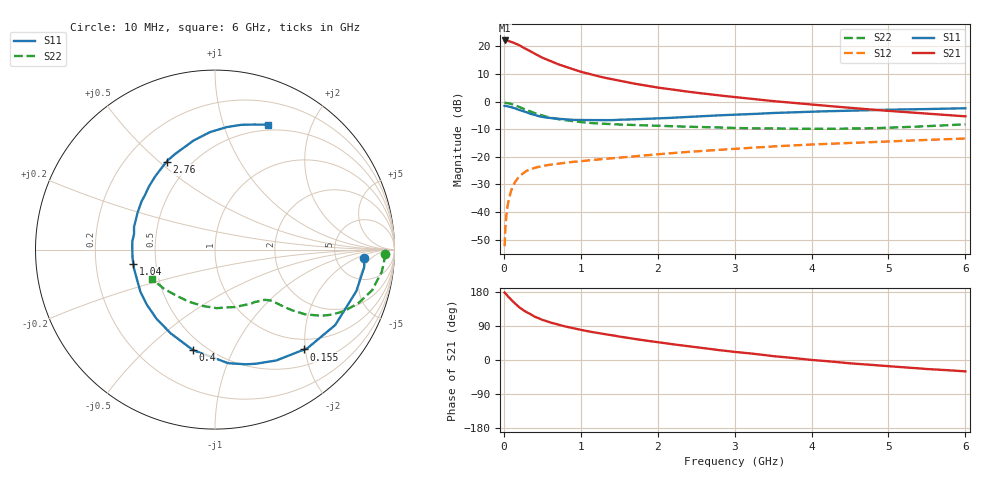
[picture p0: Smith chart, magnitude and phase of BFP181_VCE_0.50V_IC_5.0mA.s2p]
! Infineon Technologies  Discrete & RF Semiconductors
! BFP181
! VCE = 0.50V,  IC =  5.0 mA
! Common Emitter S-Parameters:  Jan 2016
# GHz  S  MA  R  50
!  f  S11  S21  S12  S22
! GHz  MAG  ANG  MAG  ANG  MAG  ANG  MAG  ANG
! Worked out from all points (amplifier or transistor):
!   210 points, 10 MHz to 6 GHz, reference 50 ohm
!   highest |S21| = 22.1 dB at 10 MHz (marker M1)
!   |S21| within 3 dB of that: start of sweep to 283 MHz
!   unconditionally stable (mu >= 1): 873.8 MHz to end of sweep
!   at 185 MHz: K = 0.28, MSG = 24.1 dB, |S12| = -27.7 dB
!   at 1.52 GHz: K = 1.41, MAG = 10.1 dB, |S12| = -20.3 dB
!   at 6 GHz: K = 1.52, MAG = -0.2 dB, |S12| = -13.4 dB
!   S11 on the Smith chart (normalised r, x): 10 MHz: 10, -3; 155 MHz: 0.79, -1.98; 400 MHz: 0.43, -0.71; 1.04 GHz: 0.37, -0.08; 2.76 GHz: 0.37, +0.53; 6 GHz: 0.44, +1.41
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0.01  0.8315 -3.3  12.76 177.9  0.0024 85.3  0.9498 -1.4
0.025  0.8327 -8.3  12.7 174.7  0.0064 81.9  0.9448 -3.7
0.05  0.8207 -16.4  12.62 168.7  0.0132 82.2  0.9378 -7.5
0.1  0.7908 -32.1  11.99 158.0  0.0254 71.9  0.9044 -14.5
0.155  0.7463 -48.2  11.17 147.3  0.0363 63.2  0.8476 -20.9
0.2  0.7061 -61.0  10.47 139.2  0.0439 58.4  0.7989 -25.3
0.24  0.6751 -70.4  9.712 133.2  0.0489 54.0  0.7546 -28.4
0.3  0.6371 -83.4  8.786 125.7  0.0559 49.3  0.6981 -31.9
0.4  0.5734 -102.3  7.372 114.4  0.0628 43.1  0.6174 -35.7
0.5  0.5275 -118.0  6.226 105.9  0.0678 39.0  0.5557 -37.9
0.6  0.5047 -130.2  5.442 99.2  0.0716 36.7  0.5116 -39.3
0.8  0.4772 -150.7  4.263 88.4  0.0778 34.0  0.4584 -40.9
1.02  0.4626 -168.5  3.403 78.8  0.0835 32.9  0.4214 -42.5
1.04  0.462 -169.9  3.347 78.0  0.0841 32.8  0.419 -42.7
1.3  0.4631 174.4  2.715 68.6  0.0907 32.0  0.3949 -45.2
1.5  0.4683 164.5  2.383 61.9  0.0964 32.1  0.3832 -47.4
2.02  0.4944 142.2  1.775 46.5  0.1113 31.1  0.3632 -55.3
2.76  0.5586 118.9  1.307 27.1  0.1323 28.2  0.34 -69.9
3.1  0.5837 110.2  1.167 19.5  0.1418 26.2  0.3293 -77.8
4.1  0.6605 90.8  0.859 -1.4  0.1688 19.6  0.3204 -105.0
5.1  0.7139 77.0  0.662 -17.8  0.1916 13.0  0.3389 -133.0
6  0.7551 67.2  0.539 -30.0  0.2138 6.5  0.3865 -154.8
